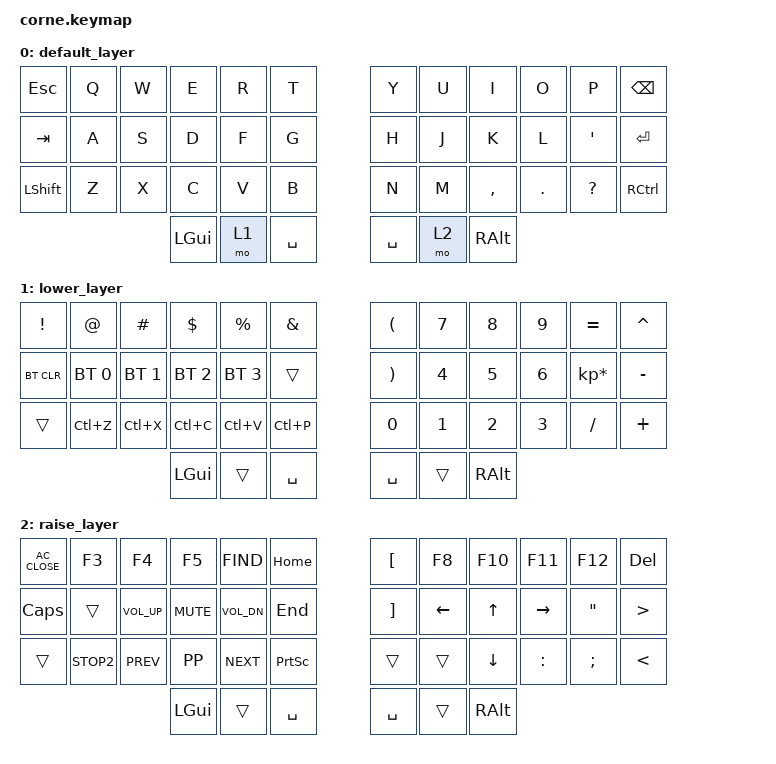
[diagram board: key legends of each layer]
/*
 * Copyright (c) 2020 The ZMK Contributors
 *
 * SPDX-License-Identifier: MIT
 */

#include <behaviors.dtsi>
#include <dt-bindings/zmk/keys.h>
#include <dt-bindings/zmk/bt.h>
//#include <dt-bindings/zmk/ext_power.h>

/ {
        keymap {
                compatible = "zmk,keymap";

                default_layer {
// -----------------------------------------------------------------------------------------
// |  ESC |  Q  |  W  |  E  |  R  |  T  |   |  Y  |  U   |  I  |  O  |  P  | BKSP |
// |  TAB |  A  |  S  |  D  |  F  |  G  |   |  H  |  J   |  K  |  L  |  '  | ENT  |
// | SHFT |  Z  |  X  |  C  |  V  |  B  |   |  N  |  M   |  ,  |  .  |  ?  | CTRL |
//                    | GUI | LWR | SPC |   | SPC | RSE  | ALT |
                        bindings = <
   &kp ESC   &kp Q &kp W &kp E &kp R &kp T   &kp Y &kp U  &kp I     &kp O   &kp P    &kp BSPC
   &kp TAB   &kp A &kp S &kp D &kp F &kp G   &kp H &kp J  &kp K     &kp L   &kp SQT  &kp RET
   &kp LSHFT &kp Z &kp X &kp C &kp V &kp B   &kp N &kp M  &kp COMMA &kp DOT &kp QMARK &kp RCTRL
                  &kp LGUI &mo 1 &kp SPACE   &kp SPACE &mo 2 &kp RALT
                        >;
                };

                lower_layer {
// -----------------------------------------------------------------------------------------
// |               lower_layer {
// -----------------------------------------------------------------------------------------
// | EXCL |  @  |  #  |  $  |  %  |  &  |   |  (  |  7  |  8  |  9  |  =  |  ^   |
// | BTCLR| BT1 | BT2 | BT3 | BT4 |     |   |  )  |  4  |  5  |  6  |  *  |  -   |
// |      | UND | CUT | CPY | PST | PRT |   |  0  |  1  |  2  |  3  |  /  |  +   |
//                    | GUI |     | SPC |   | SPC |     | ALT |
                        bindings = <
   &kp EXCL   &kp AT       &kp HASH     &kp DLLR     &kp PRCNT    &kp AMPS   &kp LPAR &kp N7  &kp N8  &kp N9  &kp EQUAL       &kp CARET
   &bt BT_CLR &bt BT_SEL 0 &bt BT_SEL 1 &bt BT_SEL 2 &bt BT_SEL 3 &trans     &kp RPAR &kp N4  &kp N5  &kp N6  &kp KP_MULTIPLY &kp MINUS
   &trans     &kp LC(Z)    &kp LC(X)    &kp LC(C)    &kp LC(V)    &kp LC(P)  &kp N0   &kp N1  &kp N2  &kp N3  &kp FSLH        &kp PLUS
                                                  &kp LGUI &trans &kp SPACE  &kp SPACE &trans &kp RALT
                        >;
                };

                raise_layer {
// -----------------------------------------------------------------------------------------
// |  EXT |  F3 |  F4 |  F5 | FIND| HOME|   |  [  |  F8 | F10 | F11 | F12 |  DEL |
// | CAPS |     |  V+ | MUTE|  V- | END |   |  ]  |  <- |  ^  |  -> |  "  |  >   |
// |      | STP | PRV | P/PS| NXT |PRTSC|   |     |     |  v  |  :  |  ;  |  <   |
//                    | GUI |     | SPC |   | SPC |     | ALT |
                        bindings = <
   &kp C_AC_CLOSE &kp F3      &kp F4       &kp F5     &kp K_FIND    &kp HOME   &kp LBKT  &kp F8   &kp F10  &kp F11   &kp F12  &kp DEL
   &kp CAPS       &trans      &kp K_VOL_UP &kp C_MUTE &kp K_VOL_DN  &kp END    &kp RBKT  &kp LEFT &kp UP   &kp RIGHT &kp DQT  &kp GT
   &trans         &kp K_STOP2 &kp K_PREV   &kp K_PP   &kp K_NEXT    &kp PSCRN  &trans    &trans   &kp DOWN &kp COLON &kp SEMI &kp LT
                                         &kp LGUI &trans &kp SPACE  &kp SPACE &trans &kp RALT
                        >;
                };
        };
};
